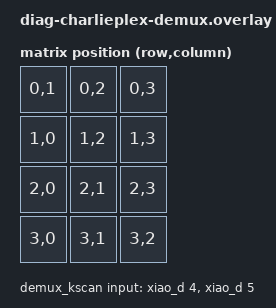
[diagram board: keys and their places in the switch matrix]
/*
 * Compile both of the two remaining official kscan compats not covered by
 * the other diag-* snippets: zmk,kscan-gpio-charlieplex and
 * zmk,kscan-gpio-demux. Both instances build and link; the physical layout
 * selects the charlieplex device as the active kscan (kscan diagnostics'
 * topology.c must still enumerate the demux device as a leaf device even
 * though no layout currently points at it).
 *
 * tester_xiao's shared transform0 is sized to match its keymap (11
 * bindings, see tester_xiao.keymap): a 4-pin charlieplex gives 4x4-4=12
 * usable (row != col) cells, of which 11 are mapped. Pin budget:
 * charlieplex 4 + demux (2 input + 2 output) = 8, within tester_xiao's
 * xiao_d 0..10 budget.
 */
&kscan0 {
	status = "disabled";
};

/ {
	chosen {
		zmk,kscan = &charlieplex_kscan;
	};

	charlieplex_kscan: charlieplex_kscan {
		compatible = "zmk,kscan-gpio-charlieplex";
		wakeup-source;
		debounce-press-ms = <5>;
		debounce-release-ms = <5>;
		gpios
			= <&xiao_d 0 (GPIO_ACTIVE_HIGH)>
			, <&xiao_d 1 (GPIO_ACTIVE_HIGH)>
			, <&xiao_d 2 (GPIO_ACTIVE_HIGH)>
			, <&xiao_d 3 (GPIO_ACTIVE_HIGH)>
			;
	};

	demux_kscan: demux_kscan {
		compatible = "zmk,kscan-gpio-demux";
		input-gpios
			= <&xiao_d 4 (GPIO_ACTIVE_HIGH)>
			, <&xiao_d 5 (GPIO_ACTIVE_HIGH)>
			;
		output-gpios
			= <&xiao_d 6 (GPIO_ACTIVE_HIGH)>
			, <&xiao_d 7 (GPIO_ACTIVE_HIGH)>
			;
	};
};

&physical_layout0 {
	kscan = <&charlieplex_kscan>;
};

/*
 * RC(row, col) here must be the matrix-transform variant, but the keymap's
 * own includes (dt-bindings/zmk/keys.h -> modifiers.h) redefine RC(keycode)
 * as a single-argument modifier helper. Force the matrix-transform
 * definition back for this file (zmk-module-dev SKILL.md pitfall).
 */
#undef RC
#include <dt-bindings/zmk/matrix_transform.h>

&transform0 {
	rows = <4>;
	columns = <4>;
	map = <
	          RC(0,1)  RC(0,2)  RC(0,3)
	RC(1,0)            RC(1,2)  RC(1,3)
	RC(2,0)  RC(2,1)             RC(2,3)
	RC(3,0)  RC(3,1)  RC(3,2)
	>;
};
